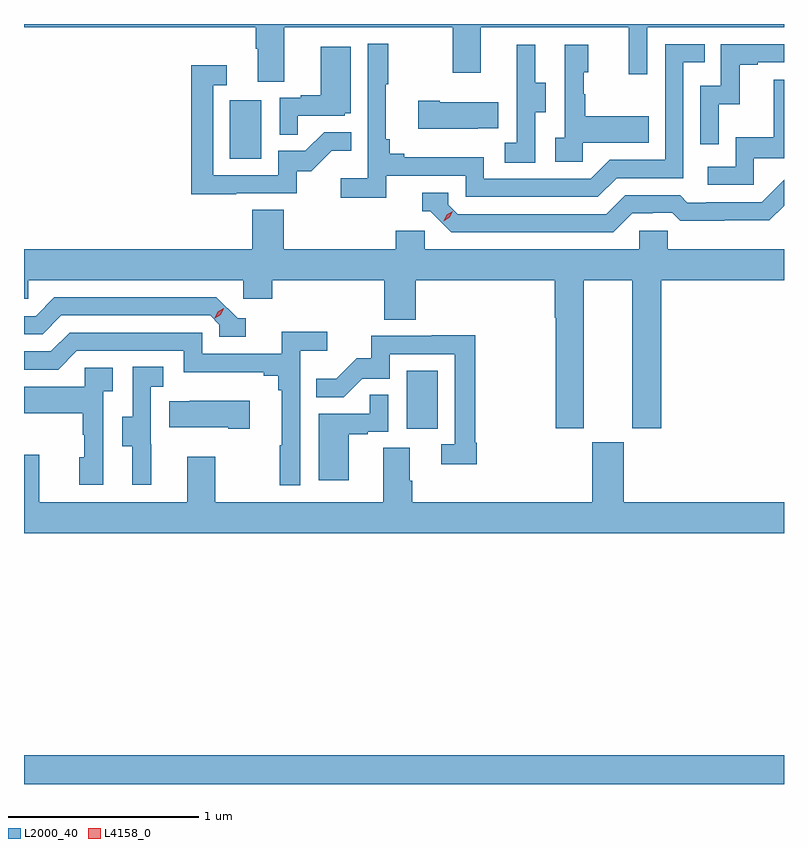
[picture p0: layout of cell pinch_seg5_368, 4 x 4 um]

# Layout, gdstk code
import gdstk
lib = gdstk.Library(unit=1e-6, precision=1e-09)
def R(c, l, rs):  # rectangles x0, y0, x1, y1
    for r in rs: c.add(gdstk.rectangle(r[:2], r[2:], *l))
def P(c, l, *ps):  # polygons
    for p in ps: c.add(gdstk.Polygon(p, *l))
L2000_40 = (2000, 40)
L4158_0 = (4158, 0)

pinch_seg5_368 = lib.new_cell('pinch_seg5_368')
R(pinch_seg5_368, L2000_40, [(988.078,884.745,992.078,884.896), (990.092,886.614,990.256,886.921), (989.162,888.036,989.326,888.343)])
P(pinch_seg5_368, L2000_40, [(988.078,888.728),(989.297,888.728),(989.297,888.616),(989.309,888.616),(989.309,888.442),(989.449,888.442),(989.449,888.728),(990.334,888.728),(990.334,888.489),(990.481,888.489),(990.481,888.728),(991.262,888.728),(991.262,888.48),(991.359,888.48),(991.359,888.728),(992.078,888.728),(992.078,888.745),(988.078,888.745)],
  [(989.984,887.946),(990.402,887.946),(990.402,887.835),(991.099,887.835),(991.198,887.934),(991.548,887.934),(991.548,888.543),(991.661,888.543),(991.661,888.639),(991.452,888.639),(991.452,888.03),(991.161,888.03),(991.062,887.931),(990.498,887.931),(990.498,888.043),(990.079,888.043),(990.079,888.062),(990.002,888.062),(990.002,888.139),(989.983,888.139),(989.983,888.427),(989.995,888.427),(989.995,888.64),(989.886,888.64),(989.886,887.932),(989.745,887.932),(989.745,887.83),(989.984,887.83)],
  [(991.734,888.323),(991.844,888.323),(991.844,888.531),(991.939,888.531),(991.939,888.543),(992.078,888.543),(992.078,888.639),(991.746,888.639),(991.746,888.42),(991.638,888.42),(991.638,888.111),(991.734,888.111)],
  [(991.02,888.119),(991.367,888.119),(991.367,888.259),(991.033,888.259),(991.033,888.374),(991.023,888.374),(991.023,888.492),(991.048,888.492),(991.048,888.637),(990.924,888.637),(990.924,888.146),(990.873,888.146),(990.873,888.021),(991.02,888.021)],
  [(990.768,888.28),(990.823,888.28),(990.823,888.435),(990.769,888.435),(990.769,888.637),(990.671,888.637),(990.671,888.423),(990.672,888.423),(990.672,888.119),(990.609,888.119),(990.609,888.016),(990.768,888.016)],
  [(989.519,888.261),(989.766,888.261),(989.766,888.276),(989.797,888.276),(989.797,888.625),(989.639,888.625),(989.639,888.37),(989.535,888.37),(989.535,888.357),(989.424,888.357),(989.424,888.163),(989.519,888.163)],
  [(989.195,887.853),(989.514,887.853),(989.514,887.97),(989.59,887.97),(989.697,888.077),(989.801,888.077),(989.801,888.176),(989.657,888.176),(989.559,888.078),(989.415,888.078),(989.415,887.949),(989.073,887.949),(989.073,888.423),(989.146,888.423),(989.146,888.529),(988.957,888.529),(988.957,887.848),(989.195,887.848)],
  [(991.92,888.039),(992.078,888.039),(992.078,888.451),(992.023,888.451),(992.023,888.148),(991.824,888.148),(991.824,887.994),(991.677,887.994),(991.677,887.898),(991.92,887.898)],
  [(990.467,888.197),(990.575,888.197),(990.575,888.334),(990.265,888.334),(990.265,888.342),(990.153,888.342),(990.153,888.194),(990.467,888.194)],
  [(991.279,887.748),(991.386,887.748),(991.386,887.751),(991.489,887.751),(991.531,887.709),(991.764,887.709),(991.764,887.711),(992,887.711),(992.078,887.789),(992.078,887.924),(991.962,887.808),(991.669,887.808),(991.669,887.805),(991.57,887.805),(991.531,887.844),(991.242,887.844),(991.143,887.745),(990.36,887.745),(990.312,887.793),(990.312,887.856),(990.173,887.856),(990.173,887.76),(990.216,887.76),(990.327,887.649),(991.18,887.649)],
  [(991.024,887.396),(991.28,887.396),(991.28,886.617),(991.433,886.617),(991.433,887.396),(992.078,887.396),(992.078,887.56),(991.467,887.56),(991.467,887.658),(991.317,887.658),(991.317,887.56),(990.186,887.56),(990.186,887.658),(990.035,887.658),(990.035,887.56),(989.444,887.56),(989.444,887.768),(989.279,887.768),(989.279,887.56),(988.078,887.56),(988.078,887.298),(988.101,887.298),(988.101,887.396),(989.232,887.396),(989.232,887.298),(989.384,887.298),(989.384,887.396),(989.975,887.396),(989.975,887.188),(990.14,887.188),(990.14,887.396),(990.872,887.396),(990.872,887.2),(990.877,887.2),(990.877,886.617),(991.024,886.617)],
  [(989.245,887.196),(989.202,887.196),(989.091,887.307),(988.238,887.307),(988.139,887.208),(988.078,887.208),(988.078,887.112),(988.176,887.112),(988.275,887.211),(989.058,887.211),(989.106,887.163),(989.106,887.1),(989.245,887.1)],
  [(989.532,887.024),(989.674,887.024),(989.674,887.126),(989.435,887.126),(989.435,887.01),(989.016,887.01),(989.016,887.121),(988.319,887.121),(988.22,887.022),(988.078,887.022),(988.078,886.926),(988.257,886.926),(988.356,887.025),(988.92,887.025),(988.92,886.913),(989.339,886.913),(989.339,886.894),(989.416,886.894),(989.416,886.817),(989.435,886.817),(989.435,886.529),(989.424,886.529),(989.424,886.317),(989.532,886.317)],
  [(990.461,886.54),(990.454,886.54),(990.454,887.108),(990.223,887.108),(990.223,887.103),(989.905,887.103),(989.905,886.986),(989.828,886.986),(989.721,886.879),(989.617,886.879),(989.617,886.78),(989.761,886.78),(989.859,886.878),(990.003,886.878),(990.003,887.007),(990.345,887.007),(990.345,886.533),(990.273,886.533),(990.273,886.428),(990.461,886.428)],
  [(988.748,886.533),(988.746,886.533),(988.746,886.837),(988.81,886.837),(988.81,886.94),(988.65,886.94),(988.65,886.677),(988.595,886.677),(988.595,886.522),(988.649,886.522),(988.649,886.32),(988.748,886.32)],
  [(988.494,886.811),(988.546,886.811),(988.546,886.935),(988.398,886.935),(988.398,886.837),(988.078,886.837),(988.078,886.697),(988.386,886.697),(988.386,886.583),(988.396,886.583),(988.396,886.464),(988.37,886.464),(988.37,886.32),(988.494,886.32)],
  [(989.788,886.587),(989.888,886.587),(989.888,886.599),(989.994,886.599),(989.994,886.793),(989.899,886.793),(989.899,886.695),(989.63,886.695),(989.63,886.344),(989.788,886.344)],
  [(989.266,886.762),(988.951,886.762),(988.951,886.759),(988.843,886.759),(988.843,886.622),(989.153,886.622),(989.153,886.615),(989.266,886.615)],
  [(992.078,886.228),(991.234,886.228),(991.234,886.545),(991.07,886.545),(991.07,886.228),(990.122,886.228),(990.122,886.34),(990.109,886.34),(990.109,886.514),(989.969,886.514),(989.969,886.228),(989.085,886.228),(989.085,886.468),(988.937,886.468),(988.937,886.228),(988.157,886.228),(988.157,886.477),(988.078,886.477),(988.078,886.064),(992.078,886.064)])
P(pinch_seg5_368, L4158_0, [(989.082,887.197),(989.082,887.197),(989.098,887.23),(989.129,887.248),(989.13,887.248),(989.13,887.248),(989.113,887.216),(989.082,887.197)],
  [(990.288,887.708),(990.288,887.708),(990.304,887.74),(990.335,887.76),(990.335,887.76),(990.335,887.76),(990.319,887.727),(990.288,887.708)])

lib.write_gds('pinch_seg5_368.gds')
